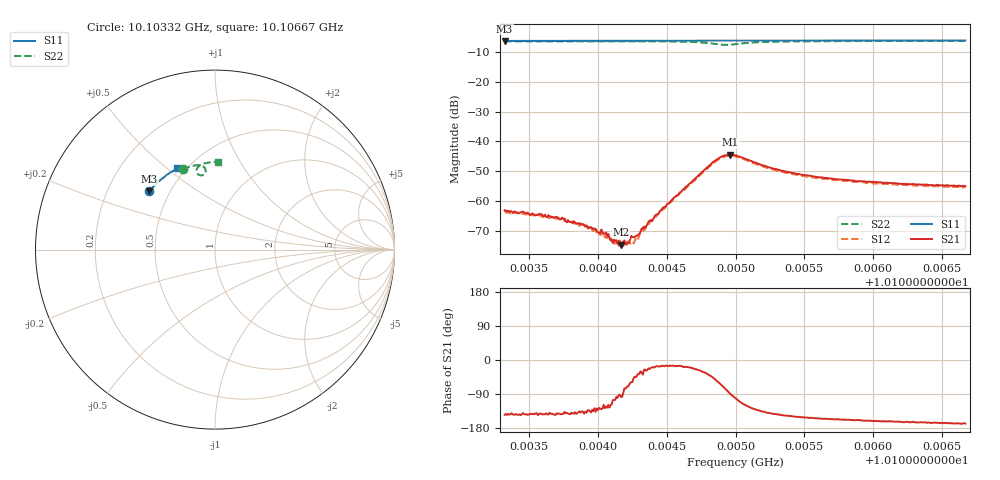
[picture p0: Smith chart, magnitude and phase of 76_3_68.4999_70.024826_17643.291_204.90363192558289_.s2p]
#  HZ  S  RI  R  50.00
! Rohde & Schwarz Vector Network Analyzer
! Rohde-Schwarz,ZNB20-2Port,1311601062101988,3.16
! Created: UTC 3/20/2024, 4:51:58 PM
! freq[Hz]  re:S11  im:S11  re:S21  im:S21  re:S12  im:S12  re:S22  im:S22
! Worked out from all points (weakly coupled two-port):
!   401 points, 10.10332 GHz to 10.10667 GHz, reference 50 ohm
!   highest |S21| = -44.44 dB at 10.10496 GHz (marker M1); lowest = -74.7 dB at 10.10417 GHz (marker M2)
!   lowest |S11| = -6.2 dB at 10.10332 GHz (marker M3), VSWR 2.92, Z = 19.3 + j16.5 ohm
!   |S11| at or under -10 dB: nowhere
!   |S22| runs from -7.5 to -6.2 dB; largest |S21 - S12| = 0.00062
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1.0103322e10  -0.3657 0.3251  -0.00057 -0.000406  -0.000506 -0.000452  -0.1785 0.4474
1.0103724e10  -0.3498 0.3438  -0.000386 -0.000304  -0.000364 -0.000333  -0.1528 0.4579
1.0103883e10  -0.3433 0.351  -0.000292 -0.000288  -0.000267 -0.000306  -0.142 0.4615
1.0104e10  -0.3382 0.3561  -0.000198 -0.000221  -0.000215 -0.000223  -0.1339 0.4641
1.0104042e10  -0.3366 0.3579  -0.000133 -0.000247  -0.000126 -0.000257  -0.1309 0.465
1.01041e10  -0.3342 0.3606  -0.000101 -0.0002  -6.85e-05 -0.000223  -0.1264 0.466
1.0104134e10  -0.3326 0.362  -2.85e-05 -0.000212  -4.18e-05 -0.000217  -0.1239 0.4666
1.0104151e10  -0.3319 0.3627  -1.03e-05 -0.000214  -1.64e-06 -0.000177  -0.1226 0.467
1.0104167e10  -0.3312 0.3635  -2.43e-05 -0.000183  3.72e-05 -0.000197  -0.1214 0.4674
1.0104218e10  -0.3291 0.3656  6.61e-05 -0.000186  0.000112 -0.000173  -0.1174 0.4682
1.0104251e10  -0.3276 0.3669  0.000133 -0.00021  0.000138 -0.000158  -0.1146 0.4687
1.0104293e10  -0.3259 0.3688  0.000221 -0.000162  0.000197 -0.000121  -0.1112 0.4694
1.0104394e10  -0.3213 0.373  0.000433 -0.000154  0.000466 -0.000121  -0.1022 0.4705
1.0104444e10  -0.3191 0.375  0.000603 -0.000185  0.000609 -0.000141  -0.0975 0.4708
1.0104837e10  -0.3009 0.3905  0.00309 -0.00328  0.00322 -0.00285  -0.052 0.4367
1.0104904e10  -0.2979 0.3931  0.00211 -0.00523  0.00247 -0.0048  -0.0629 0.4174
1.0104963e10  -0.2952 0.3952  6.59e-05 -0.006  0.00057 -0.00573  -0.0838 0.4138
1.0104996e10  -0.2937 0.3965  -0.00105 -0.00577  -0.00052 -0.00559  -0.0937 0.4192
1.0105264e10  -0.2811 0.4068  -0.00278 -0.00224  -0.00248 -0.00238  -0.089 0.4655
1.0105557e10  -0.2668 0.4173  -0.00231 -0.00118  -0.0021 -0.00132  -0.0629 0.4788
1.0106118e10  -0.2383 0.4358  -0.00191 -0.000619  -0.00178 -0.000747  -0.0215 0.4869
1.0106671e10  -0.209 0.4519  -0.00174 -0.000381  -0.00162 -0.000508  0.0161 0.4892
